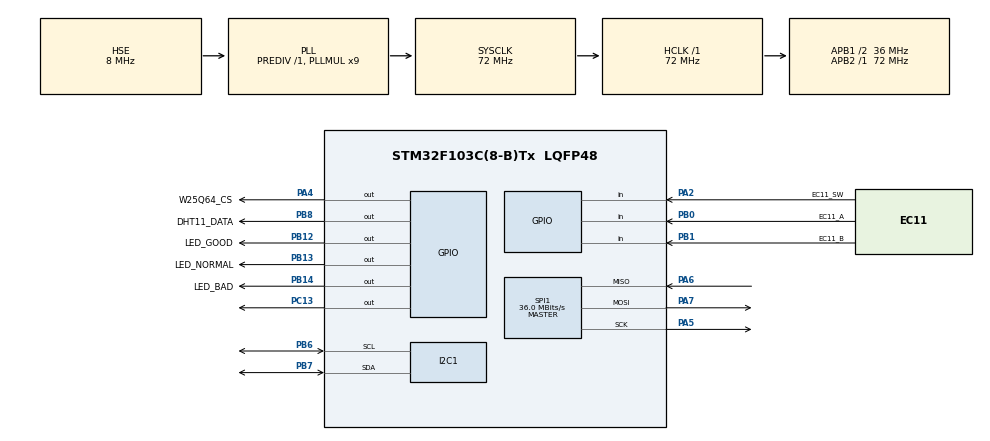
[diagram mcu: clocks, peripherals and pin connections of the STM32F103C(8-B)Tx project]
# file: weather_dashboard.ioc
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Mcu.Family=STM32F1
Mcu.Name=STM32F103C(8-B)Tx
Mcu.Package=LQFP48
NVIC.PriorityGroup=NVIC_PRIORITYGROUP_4
PA13.Mode=Serial_Wire
PA13.Signal=SYS_JTMS-SWDIO
PA14.Mode=Serial_Wire
PA14.Signal=SYS_JTCK-SWCLK
PA2.GPIO_Label=EC11_SW
PA2.Signal=GPIO_Input
PA4.GPIO_Label=W25Q64_CS
PA4.GPIO_Speed=GPIO_SPEED_FREQ_HIGH
PA4.PinState=GPIO_PIN_SET
PA4.Signal=GPIO_Output
PA5.Mode=Full_Duplex_Master
PA5.Signal=SPI1_SCK
PA6.Mode=Full_Duplex_Master
PA6.Signal=SPI1_MISO
PA7.Mode=Full_Duplex_Master
PA7.Signal=SPI1_MOSI
PB0.GPIO_Label=EC11_A
PB0.GPIO_PuPd=GPIO_PULLUP
PB0.Signal=GPIO_Input
PB1.GPIO_Label=EC11_B
PB1.GPIO_PuPd=GPIO_PULLUP
PB1.Signal=GPIO_Input
PB12.GPIO_Label=LED_GOOD
PB12.GPIO_PuPd=GPIO_NOPULL
PB12.Signal=GPIO_Output
PB13.GPIO_Label=LED_NORMAL
PB13.Signal=GPIO_Output
PB14.GPIO_Label=LED_BAD
PB14.Signal=GPIO_Output
PB6.Mode=I2C
PB6.Signal=I2C1_SCL
PB7.Mode=I2C
PB7.Signal=I2C1_SDA
PB8.GPIO_Label=DHT11_DATA
PB8.GPIO_ModeDefaultOutputPP=GPIO_MODE_OUTPUT_OD
PB8.GPIO_PuPd=GPIO_PULLUP
PB8.GPIO_Speed=GPIO_SPEED_FREQ_LOW
PB8.PinState=GPIO_PIN_SET
PB8.Signal=GPIO_Output
PC13-TAMPER-RTC.Signal=GPIO_Output
PC14-OSC32_IN.Mode=LSE-External-Oscillator
PC14-OSC32_IN.Signal=RCC_OSC32_IN
PC15-OSC32_OUT.Mode=LSE-External-Oscillator
PC15-OSC32_OUT.Signal=RCC_OSC32_OUT
PD0-OSC_IN.Mode=HSE-External-Oscillator
PD0-OSC_IN.Signal=RCC_OSC_IN
PD1-OSC_OUT.Mode=HSE-External-Oscillator
PD1-OSC_OUT.Signal=RCC_OSC_OUT
ProjectManager.HeapSize=0x200
ProjectManager.StackSize=0x400
ProjectManager.TargetToolchain=MDK-ARM V5.32
RCC.AHBFreq_Value=72000000
RCC.APB1CLKDivider=RCC_HCLK_DIV2
RCC.APB1Freq_Value=36000000
RCC.APB1TimFreq_Value=72000000
RCC.APB2Freq_Value=72000000
RCC.APB2TimFreq_Value=72000000
RCC.HCLKFreq_Value=72000000
RCC.PLLMUL=RCC_PLL_MUL9
RCC.PLLSourceVirtual=RCC_PLLSOURCE_HSE
RCC.SYSCLKFreq_VALUE=72000000
RCC.SYSCLKSource=RCC_SYSCLKSOURCE_PLLCLK
RCC.USBFreq_Value=72000000
SPI1.BaudRatePrescaler=SPI_BAUDRATEPRESCALER_2
SPI1.CalculateBaudRate=36.0 MBits/s
SPI1.Direction=SPI_DIRECTION_2LINES
SPI1.Mode=SPI_MODE_MASTER
SPI1.VirtualType=VM_MASTER
board=custom

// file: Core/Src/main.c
/* USER CODE BEGIN Header */
/**
  ******************************************************************************
  * @file           : main.c
  * @brief          : Main program body
  ******************************************************************************
  * @attention
  *
  * Copyright (c) 2026 STMicroelectronics.
  * All rights reserved.
  *
  * This software is licensed under terms that can be found in the LICENSE file
  * in the root directory of this software component.
  * If no LICENSE file comes with this software, it is provided AS-IS.
  *
  ******************************************************************************
  */
/* USER CODE END Header */
#include "main.h"
#include "i2c.h"
#include "spi.h"
#include "gpio.h"

/* USER CODE BEGIN Includes */
#include "oled_ui.h"
#include "dht11.h"
#include "dwt_delay.h"
#include "ec11.h"
#include "led_status.h"
#include "w25q64.h"
#include "oled.h"
#include "history_storage.h"

/* USER CODE END Includes */

/* USER CODE BEGIN PD */
#define  APP_DHT_PERIOD_MS  2000U
#define  APP_OLED_PERIOD_MS  1000U

/* USER CODE END PD */

/* USER CODE BEGIN PV */
static WeatherData g_weather_data;
static PageType g_current_page=PAGE_REALTIME;

static uint8_t g_oled_need_refresh=1;

/* USER CODE END PV */

void SystemClock_Config(void);

/* USER CODE BEGIN 0 */
static  ComfortLevel App_CalcComfort(uint8_t temp,uint8_t humi)
{
	if(temp>=20&&temp<=28&&humi>=40&&humi<=70)
	{
		return COMFORT_GOOD;
	}
	else	if(temp>=15&&temp<=32&&humi>=30&&humi<=80)
	{
		return COMFORT_NORMAL;
	}
	else
	{
		return COMFORT_BAD;
	}

}
static PageType App_GetNextPage(PageType page)
{
	switch(page)
	{
		case PAGE_REALTIME:
			return 	PAGE_COMFORT;

		case PAGE_COMFORT:
			return PAGE_HISTORY;

		case PAGE_HISTORY:
			return PAGE_SETTING;

		case PAGE_SETTING:
		default:
			return PAGE_REALTIME;
	}
}
static PageType App_GetPrevPage(PageType page)
{
	switch(page)
	{
		case PAGE_REALTIME:
			return 	PAGE_SETTING;

		case PAGE_COMFORT:
			return PAGE_REALTIME;

		case PAGE_HISTORY:
			return PAGE_COMFORT;

		case PAGE_SETTING:
		default:
			return PAGE_HISTORY;
	}
}
static void App_HandleEC11(void)
{
	EC11_Event event;

	EC11_Update();
	event=EC11_GetEvent();

	if(event==EC11_RIGHT)
	{
		g_current_page=App_GetNextPage(g_current_page);
		g_oled_need_refresh=1;
	}
	else if(event==EC11_LEFT)
	{
		g_current_page=App_GetPrevPage(g_current_page);
		g_oled_need_refresh=1;
	}
	else if(event==EC11_PRESS)
	{
		if(g_current_page==PAGE_SETTING)
		{
			g_current_page=PAGE_REALTIME;
		}
		else
		{
			g_current_page=PAGE_SETTING;
		}
		g_oled_need_refresh=1;
	}
}
static void App_UpdateHistoryTrend(void)
{
	uint16_t count;
	uint16_t start_index;
	HistoryRecord record;
	uint8_t temp[4]={0};
	uint8_t i;
	uint8_t trend=0;

	count=HistoryStorage_GetCount();

	if(count<4)
	{
		OLED_UI_SetTrendInfo(0,0,0,0,0,0);
		return;
	}
	start_index=count-4;
	for(i=0;i<4;i++)
	{
		if(HistoryStorage_ReadRecord(start_index+i,&record)==HISTORY_OK)
		{
			temp[i]=record.temperature;
		}
		else
		{
		OLED_UI_SetTrendInfo(0,0,0,0,0,0);
		return;
		}
	}
		if(temp[3]>temp[0])
		{
			trend=1;
		}
		else if(temp[3]<temp[0])
		{
			trend=2;
		}
		else
		{
			trend=0;
		}
		OLED_UI_SetTrendInfo(
		temp[0],
		temp[1],
		temp[2],
		temp[3],
		trend,
		1);
	}

static void App_UpdateSensor(uint32_t now)
{
	static uint32_t last_dht_time=0;

	uint8_t temp=0;
	uint8_t humi=0;

	if(now-last_dht_time>=APP_DHT_PERIOD_MS)
	{
		last_dht_time=now;
		if(DHT11_Read(&temp,&humi)==DHT11_OK)
		{
			g_weather_data.temperature=temp;
			g_weather_data.humidity=humi;
			g_weather_data.comfort=App_CalcComfort(temp,humi);
			g_weather_data.sample_id++;

			LED_Status_Update(g_weather_data.comfort);

			if(HistoryStorage_SaveWeather(&g_weather_data)==HISTORY_OK)
			{
				HistoryRecord record;
				uint16_t count;

				count=HistoryStorage_GetCount();

				if(count>0)
				{
					if(HistoryStorage_ReadRecord(count-1,&record)==HISTORY_OK)
					{
						OLED_UI_SetHistoryInfo(
																		count,
																		record.temperature,
																		record.humidity,
																		1);
					}
				}
			}

						g_oled_need_refresh=1;
						App_UpdateHistoryTrend();

		}
	}
}
static void App_RefreshOLED(uint32_t now)
{
	static uint32_t last_oled_time=0;

	if(g_oled_need_refresh||(now-last_oled_time>=APP_OLED_PERIOD_MS))
	{
		last_oled_time=now;

	OLED_UI_ShowPage(g_current_page,&g_weather_data);

	g_oled_need_refresh=0;
	}
}
static void App_DataInit(void)
{
	g_weather_data.temperature=25;
	g_weather_data.humidity=55;
	g_weather_data.comfort=COMFORT_GOOD;
	g_weather_data.sample_id=1;

	g_current_page=PAGE_REALTIME;
	g_oled_need_refresh=1;
}

/* USER CODE END 0 */

int main(void)
{

  /* MCU Configuration--------------------------------------------------------*/

  /* Reset of all peripherals, Initializes the Flash interface and the Systick. */
  HAL_Init();

  /* Configure the system clock */
  SystemClock_Config();

  /* Initialize all configured peripherals */
  MX_GPIO_Init();
  MX_I2C1_Init();
  MX_SPI1_Init();
  /* USER CODE BEGIN 2 */
		App_DataInit();

		DWT_Delay_Init();
		EC11_Init();

		OLED_UI_Init();
		LED_Status_Init();

		OLED_UI_ShowBoot();
		HAL_Delay(1000);

		LED_Status_Update(g_weather_data.comfort);

		uint32_t flash_id;
		uint8_t flash_test_result;

		flash_id=W25Q64_ReadID();
		flash_test_result=W25Q64_Test();

		HistoryStorage_Init(1);
		OLED_UI_SetHistoryInfo(0,0,0,0);
		OLED_UI_SetTrendInfo(0,0,0,0,0,0);

		OLED_CLS();
		OLED_ShowString_F8X16(0,0,(uint8_t*)"W25Q64");

		if(flash_id!=0)
		{
			OLED_ShowString_F8X16(1,0,(uint8_t*)"ID OK");
		}
		else
		{
			OLED_ShowString_F8X16(1,0,(uint8_t*)"ID ERR");
		}
		if(flash_test_result==W25Q64_OK)
		{
				OLED_ShowString_F8X16(2,0,(uint8_t*)"RW OK");
		}
		else
		{
				OLED_ShowString_F8X16(2,0,(uint8_t*)"RW ERR");
		}
			HAL_Delay(1500);
			OLED_UI_ShowPage(g_current_page,&g_weather_data);
  /* USER CODE END 2 */

  /* Infinite loop */
  /* USER CODE BEGIN WHILE */
  while (1)
  {
		uint32_t now=HAL_GetTick();

		App_HandleEC11();
		App_UpdateSensor(now);
		App_RefreshOLED(now);

    /* USER CODE END WHILE */

  }
}

void SystemClock_Config(void)
{
  RCC_OscInitTypeDef RCC_OscInitStruct = {0};
  RCC_ClkInitTypeDef RCC_ClkInitStruct = {0};

  /** Initializes the RCC Oscillators according to the specified parameters
  * in the RCC_OscInitTypeDef structure.
  */
  RCC_OscInitStruct.OscillatorType = RCC_OSCILLATORTYPE_HSE;
  RCC_OscInitStruct.HSEState = RCC_HSE_ON;
  RCC_OscInitStruct.HSEPredivValue = RCC_HSE_PREDIV_DIV1;
  RCC_OscInitStruct.HSIState = RCC_HSI_ON;
  RCC_OscInitStruct.PLL.PLLState = RCC_PLL_ON;
  RCC_OscInitStruct.PLL.PLLSource = RCC_PLLSOURCE_HSE;
  RCC_OscInitStruct.PLL.PLLMUL = RCC_PLL_MUL9;
  if (HAL_RCC_OscConfig(&RCC_OscInitStruct) != HAL_OK)
  {
    Error_Handler();
  }

  /** Initializes the CPU, AHB and APB buses clocks
  */
  RCC_ClkInitStruct.ClockType = RCC_CLOCKTYPE_HCLK|RCC_CLOCKTYPE_SYSCLK
                              |RCC_CLOCKTYPE_PCLK1|RCC_CLOCKTYPE_PCLK2;
  RCC_ClkInitStruct.SYSCLKSource = RCC_SYSCLKSOURCE_PLLCLK;
  RCC_ClkInitStruct.AHBCLKDivider = RCC_SYSCLK_DIV1;
  RCC_ClkInitStruct.APB1CLKDivider = RCC_HCLK_DIV2;
  RCC_ClkInitStruct.APB2CLKDivider = RCC_HCLK_DIV1;

  if (HAL_RCC_ClockConfig(&RCC_ClkInitStruct, FLASH_LATENCY_2) != HAL_OK)
  {
    Error_Handler();
  }
}

void Error_Handler(void)
{
  __disable_irq();
  while (1)
  {
  }
}
